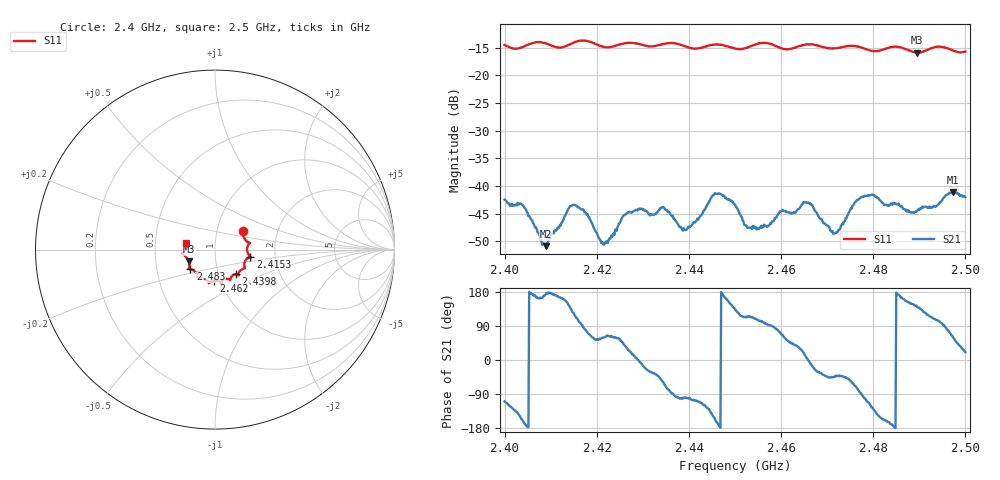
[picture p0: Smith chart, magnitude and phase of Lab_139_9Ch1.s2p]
# Hz S RI R 50
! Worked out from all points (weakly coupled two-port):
!   601 points, 2.4 GHz to 2.5 GHz, reference 50 ohm
!   highest |S21| = -41.08 dB at 2.4973 GHz (marker M1); lowest = -50.9 dB at 2.409 GHz (marker M2)
!   lowest |S11| = -15.9 dB at 2.4895 GHz (marker M3), VSWR 1.38, Z = 36.9 - j4.99 ohm
!   |S11| at or under -10 dB: start of sweep to end of sweep
!   S12 and S22 are empty: the file has one direction only
!   S11 on the Smith chart (normalised r, x): 2.4 GHz: 1.33, +0.29; 2.4153 GHz: 1.48, -0.12; 2.4398 GHz: 1.21, -0.34; 2.462 GHz: 0.93, -0.33; 2.483 GHz: 0.74, -0.17; 2.5 GHz: 0.72, +0.06
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2.4e9  0.1551 0.1064  -0.00244 -0.0071  0 0  0 0
2.404e9  0.1745 0.0478  -0.00633 -0.00217  0 0  0 0
2.409e9  0.1914 0.0338  -0.00284 0.000241  0 0  0 0
2.415333e9  0.1965 -0.0385  -0.00283 0.00603  0 0  0 0
2.416667e9  0.2023 -0.0427  -0.000391 0.00611  0 0  0 0
2.4215e9  0.171 -0.0586  0.0015 0.00253  0 0  0 0
2.426667e9  0.168 -0.102  0.00495 0.00281  0 0  0 0
2.433333e9  0.1313 -0.1335  0.00438 -0.00399  0 0  0 0
2.434667e9  0.1305 -0.1422  0.00276 -0.00567  0 0  0 0
2.439833e9  0.1155 -0.1366  -0.000806 -0.00419  0 0  0 0
2.4455e9  0.0845 -0.17  -0.00745 -0.00394  0 0  0 0
2.45e9  0.0647 -0.1625  -0.00469 0.00487  0 0  0 0
2.453167e9  0.0375 -0.1779  -0.00178 0.0038  0 0  0 0
2.462e9  -0.00515 -0.1731  0.00401 0.00399  0 0  0 0
2.466667e9  -0.0342 -0.1876  0.00657 -0.00164  0 0  0 0
2.471833e9  -0.0679 -0.1619  0.00277 -0.0025  0 0  0 0
2.477667e9  -0.0977 -0.1476  -0.000589 -0.008  0 0  0 0
2.483e9  -0.1377 -0.1095  -0.00639 -0.00197  0 0  0 0
2.483333e9  -0.1402 -0.1094  -0.00647 -0.00186  0 0  0 0
2.4895e9  -0.1465 -0.0658  -0.00454 0.00378  0 0  0 0
2.497333e9  -0.1675 -0.00308  0.00443 0.00764  0 0  0 0
2.5e9  -0.1597 0.0391  0.0074 0.0028  0 0  0 0
